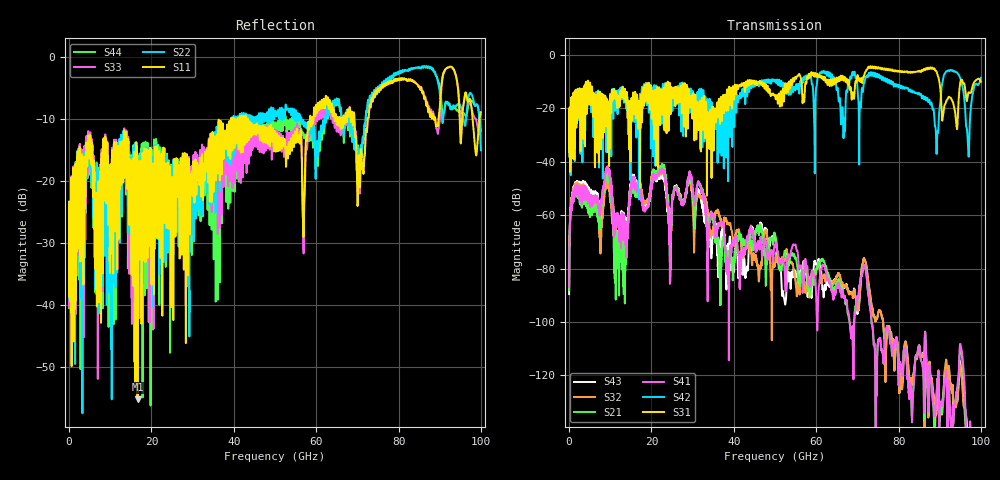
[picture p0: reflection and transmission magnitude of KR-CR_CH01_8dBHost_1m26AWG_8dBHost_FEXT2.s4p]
# GHz S MA R 50.00
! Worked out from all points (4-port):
!   10000 points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, 10 MHz to 100 GHz, reference 50 ohm
!   strongest paths, dB at 10 MHz, 25.01 GHz, 50.01 GHz, 75.01 GHz, 100 GHz:
!     S31: -28.0, -14.2, -15.4, -4.7, -10.0
!     S42: -28.0, -17.7, -9.6, -8.5, -8.5
!     S41: -86.9, -54.4, -71.3, -107.1, -179.4
!     S21: -88.0, -55.5, -67.1, -107.2, -159.6
!     S32: -87.8, -55.9, -78.5, -97.1, -147.2
!     S43: -89.5, -54.6, -67.7, -97.0, -149.6
!   lowest |S11| = -55.1 dB at 16.62 GHz (marker M1), VSWR 1.00, Z = 49.8 - j0.0664 ohm
!   |S11| at or under -10 dB: start of sweep to 39.38 GHz; 43.37 GHz to 58.47 GHz (15.1 GHz wide, 29.7 % of centre); 69.27 GHz to 72.52 GHz (3.243 GHz wide, 4.57 % of centre)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
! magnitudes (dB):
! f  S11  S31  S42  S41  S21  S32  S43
! 10 MHz  -23.3  -28.0  -28.0  -86.9  -88.0  -87.8  -89.5
! 16.62 GHz  -55.1  -17.6  -18.3  -49.4  -51.2  -48.1  -48.2
! 39.72 GHz  -13.3  -13.3  -21.3  -69.3  -83.6  -68.9  -79.2
! 89.25 GHz  -10.9  -6.3  -36.5  -127.1  -126.4  -132.0  -133.2
! 92.85 GHz  -1.5  -16.5  -5.9  -146.8  -146.5  -125.5  -125.4
! 96.84 GHz  -7.2  -15.0  -33.8  -149.6  -151.5  -151.7  -144.7
! 100 GHz  -8.9  -10.0  -8.5  -179.4  -159.6  -147.2  -149.6
